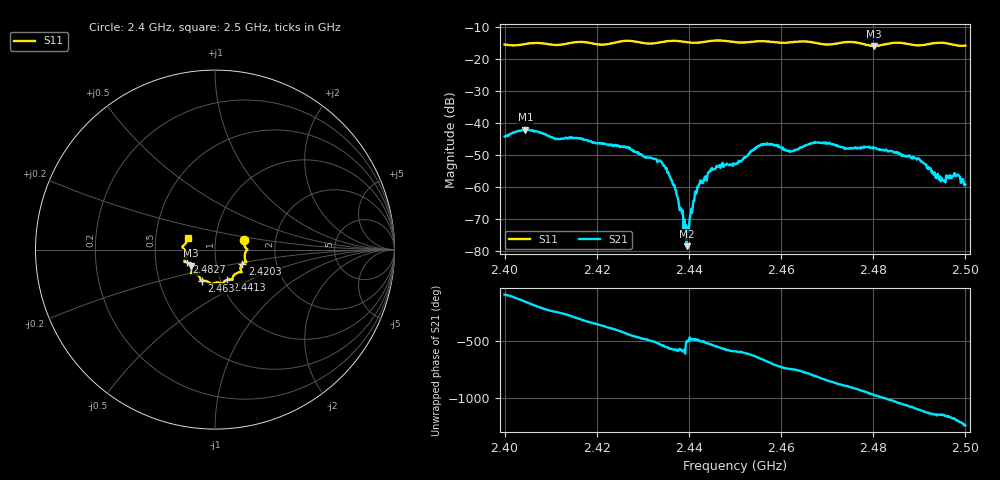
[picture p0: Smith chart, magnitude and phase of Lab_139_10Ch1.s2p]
# Hz S RI R 50
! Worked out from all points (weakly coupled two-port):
!   601 points, 2.4 GHz to 2.5 GHz, reference 50 ohm
!   highest |S21| = -41.96 dB at 2.4045 GHz (marker M1); lowest = -78.4 dB at 2.4395 GHz (marker M2)
!   lowest |S11| = -15.8 dB at 2.4802 GHz (marker M3), VSWR 1.39, Z = 37.5 - j6.91 ohm
!   |S11| at or under -10 dB: start of sweep to end of sweep
!   S12 and S22 are empty: the file has one direction only
!   S11 on the Smith chart (normalised r, x): 2.4 GHz: 1.38, +0.15; 2.4203 GHz: 1.34, -0.22; 2.4413 GHz: 1.08, -0.38; 2.463 GHz: 0.82, -0.29; 2.4827 GHz: 0.72, -0.11; 2.5 GHz: 0.73, +0.10
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2.4e9  0.1621 0.053  6.69e-05 -0.00622  0 0  0 0
2.4045e9  0.1741 0.00557  -0.00701 -0.00381  0 0  0 0
2.416667e9  0.1744 -0.0697  0.00359 0.00451  0 0  0 0
2.420333e9  0.1521 -0.0794  0.00486 0.000708  0 0  0 0
2.433333e9  0.0999 -0.1522  -0.00247 -0.000852  0 0  0 0
2.4365e9  0.0982 -0.1686  -0.000959 0.000568  0 0  0 0
2.4395e9  0.085 -0.1653  -9.22e-05 -7.71e-05  0 0  0 0
2.44e9  0.0804 -0.1654  -0.000179 -0.000145  0 0  0 0
2.441333e9  0.0671 -0.1688  -0.000448 -0.000732  0 0  0 0
2.442333e9  0.0575 -0.1744  -0.000871 -0.000746  0 0  0 0
2.444667e9  0.0446 -0.189  -0.00183 -0.000422  0 0  0 0
2.45e9  0.0246 -0.1845  -0.00144 0.00178  0 0  0 0
2.456e9  -0.02 -0.1915  0.00237 0.0041  0 0  0 0
2.463e9  -0.0728 -0.1733  0.00327 -0.00184  0 0  0 0
2.466667e9  -0.0805 -0.1678  0.00112 -0.00471  0 0  0 0
2.480167e9  -0.1355 -0.0896  -0.00123 0.00401  0 0  0 0
2.482667e9  -0.1577 -0.0707  0.000921 0.00374  0 0  0 0
2.483333e9  -0.163 -0.0685  0.00155 0.00332  0 0  0 0
2.489667e9  -0.1636 -0.0262  0.00264 -0.000997  0 0  0 0
2.495167e9  -0.1806 0.0184  0.00048 -0.00118  0 0  0 0
2.498e9  -0.1624 0.037  -0.000693 -0.00131  0 0  0 0
2.5e9  -0.1507 0.0643  -0.00105 -0.000334  0 0  0 0
